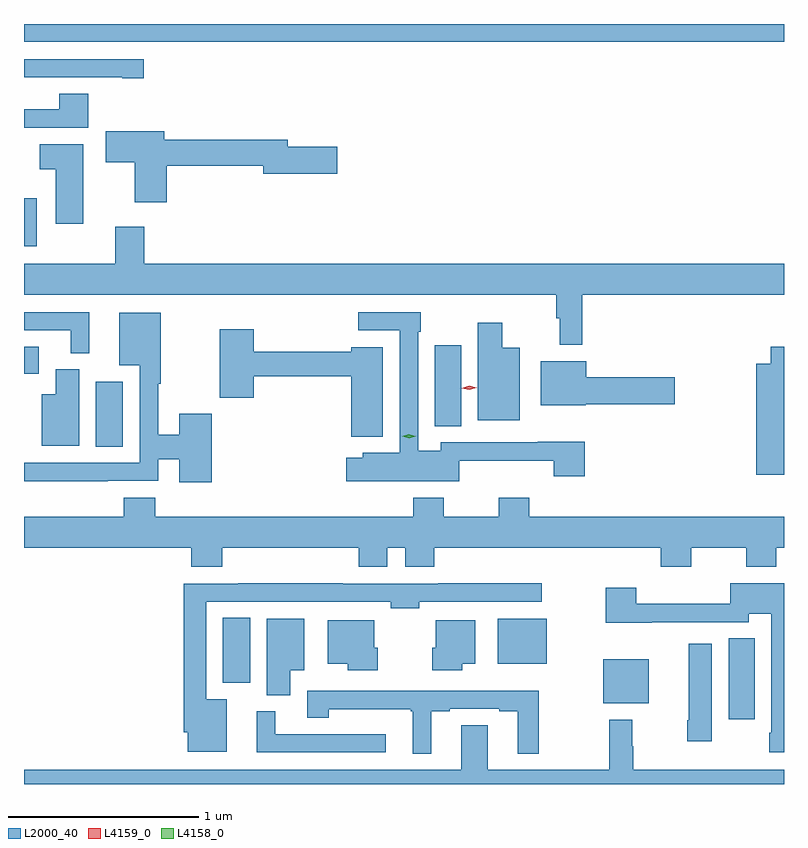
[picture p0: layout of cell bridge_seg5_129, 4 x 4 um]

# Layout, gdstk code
import gdstk
lib = gdstk.Library(unit=1e-6, precision=1e-09)
def R(c, l, rs):  # rectangles x0, y0, x1, y1
    for r in rs: c.add(gdstk.rectangle(r[:2], r[2:], *l))
def P(c, l, *ps):  # polygons
    for p in ps: c.add(gdstk.Polygon(p, *l))
L2000_40 = (2000, 40)
L4158_0 = (4158, 0)
L4159_0 = (4159, 0)

bridge_seg5_129 = lib.new_cell('bridge_seg5_129')
R(bridge_seg5_129, L2000_40, [(424.424,887.826,424.561,888.251), (423.764,887.909,424.003,888.142), (421.763,888.017,421.906,888.359), (423.209,888.119,423.466,888.355), (421.094,889.261,421.237,889.603), (422.879,889.369,423.016,889.795), (420.716,889.643,420.793,889.787), (420.716,890.315,420.784,890.569), (420.716,891.392,424.716,891.485)])
P(bridge_seg5_129, L2000_40, [(421.345,891.3),(420.716,891.3),(420.716,891.204),(421.232,891.204),(421.232,891.199),(421.345,891.199)],
  [(421.055,891.119),(420.902,891.119),(420.902,891.036),(420.716,891.036),(420.716,890.94),(421.055,890.94)],
  [(421.466,890.74),(421.976,890.74),(421.976,890.698),(422.365,890.698),(422.365,890.84),(422.104,890.84),(422.104,890.876),(421.453,890.876),(421.453,890.92),(421.146,890.92),(421.146,890.758),(421.298,890.758),(421.298,890.547),(421.466,890.547)],
  [(421.027,890.851),(420.8,890.851),(420.8,890.72),(420.884,890.72),(420.884,890.433),(421.027,890.433)],
  [(423.653,890.06),(424.716,890.06),(424.716,890.224),(421.349,890.224),(421.349,890.419),(421.196,890.419),(421.196,890.224),(420.716,890.224),(420.716,890.06),(423.517,890.06),(423.517,889.937),(423.536,889.937),(423.536,889.797),(423.653,889.797)],
  [(423.006,889.187),(423.503,889.187),(423.503,889.104),(423.668,889.104),(423.668,889.286),(423.421,889.286),(423.421,889.284),(422.91,889.284),(422.91,889.24),(422.79,889.24),(422.79,889.865),(422.803,889.865),(422.803,889.968),(422.475,889.968),(422.475,889.872),(422.694,889.872),(422.694,889.228),(422.499,889.228),(422.499,889.201),(422.412,889.201),(422.412,889.079),(423.006,889.079)],
  [(421.06,889.968),(420.716,889.968),(420.716,889.872),(420.962,889.872),(420.962,889.753),(421.06,889.753)],
  [(421.703,889.435),(421.532,889.435),(421.532,889.322),(421.422,889.322),(421.422,889.592),(421.435,889.592),(421.435,889.966),(421.217,889.966),(421.217,889.688),(421.326,889.688),(421.326,889.176),(420.716,889.176),(420.716,889.079),(421.157,889.079),(421.157,889.08),(421.422,889.08),(421.422,889.194),(421.532,889.194),(421.532,889.074),(421.703,889.074)],
  [(423.325,889.78),(423.234,889.78),(423.234,889.912),(423.104,889.912),(423.104,889.4),(423.325,889.4)],
  [(422.605,889.783),(422.438,889.783),(422.438,889.759),(421.925,889.759),(421.925,889.879),(421.747,889.879),(421.747,889.518),(421.925,889.518),(421.925,889.63),(422.438,889.63),(422.438,889.313),(422.605,889.313)],
  [(424.716,889.786),(424.646,889.786),(424.646,889.696),(424.571,889.696),(424.571,889.112),(424.716,889.112)],
  [(423.672,889.484),(424.141,889.484),(424.141,889.626),(423.676,889.626),(423.676,889.711),(423.437,889.711),(423.437,889.478),(423.672,889.478)],
  [(421.006,889.668),(420.884,889.668),(420.884,889.537),(420.809,889.537),(420.809,889.265),(421.006,889.265)],
  [(421.76,888.728),(422.477,888.728),(422.477,888.629),(422.629,888.629),(422.629,888.728),(422.723,888.728),(422.723,888.629),(422.876,888.629),(422.876,888.728),(424.067,888.728),(424.067,888.629),(424.227,888.629),(424.227,888.728),(424.516,888.728),(424.516,888.629),(424.676,888.629),(424.676,888.728),(424.716,888.728),(424.716,888.892),(423.374,888.892),(423.374,888.991),(423.214,888.991),(423.214,888.892),(422.925,888.892),(422.925,888.991),(422.765,888.991),(422.765,888.892),(421.406,888.892),(421.406,888.991),(421.241,888.991),(421.241,888.892),(420.716,888.892),(420.716,888.728),(421.595,888.728),(421.595,888.629),(421.76,888.629)],
  [(421.783,887.932),(421.674,887.932),(421.674,888.444),(422.646,888.444),(422.646,888.409),(422.796,888.409),(422.796,888.444),(423.442,888.444),(423.442,888.542),(422.896,888.542),(422.896,888.54),(422.393,888.54),(422.393,888.542),(421.843,888.542),(421.843,888.54),(421.558,888.54),(421.558,887.758),(421.577,887.758),(421.577,887.654),(421.783,887.654)],
  [(424.716,888.541),(424.434,888.541),(424.434,888.434),(423.938,888.434),(423.938,888.517),(423.778,888.517),(423.778,888.335),(424.021,888.335),(424.021,888.336),(424.53,888.336),(424.53,888.38),(424.65,888.38),(424.65,887.755),(424.638,887.755),(424.638,887.652),(424.716,887.652)],
  [(422.116,888.083),(422.191,888.083),(422.191,888.355),(421.994,888.355),(421.994,887.953),(422.116,887.953)],
  [(423.022,888.119),(423.091,888.119),(423.091,888.346),(422.882,888.346),(422.882,888.201),(422.864,888.201),(422.864,888.083),(423.022,888.083)],
  [(422.578,888.201),(422.56,888.201),(422.56,888.346),(422.315,888.346),(422.315,888.119),(422.42,888.119),(422.42,888.083),(422.578,888.083)],
  [(424.336,888.223),(424.214,888.223),(424.214,887.821),(424.207,887.821),(424.207,887.709),(424.336,887.709)],
  [(422.86,887.868),(422.956,887.868),(422.956,887.88),(423.218,887.88),(423.218,887.868),(423.314,887.868),(423.314,887.645),(423.424,887.645),(423.424,887.977),(423.118,887.977),(423.118,887.976),(422.208,887.976),(422.208,887.833),(422.321,887.833),(422.321,887.879),(422.751,887.879),(422.751,887.868),(422.762,887.868),(422.762,887.645),(422.86,887.645)],
  [(422.62,887.748),(422.038,887.748),(422.038,887.868),(421.94,887.868),(421.94,887.652),(422.62,887.652)],
  [(424.716,887.56),(423.923,887.56),(423.923,887.684),(423.916,887.684),(423.916,887.824),(423.795,887.824),(423.795,887.56),(423.157,887.56),(423.157,887.795),(423.017,887.795),(423.017,887.56),(420.716,887.56),(420.716,887.485),(424.716,887.485)])
P(bridge_seg5_129, L4158_0, [(422.743,889.305),(422.708,889.314),(422.707,889.315),(422.708,889.315),(422.742,889.325),(422.777,889.316),(422.778,889.316),(422.777,889.316)])
P(bridge_seg5_129, L4159_0, [(423.059,889.56),(423.019,889.569),(423.019,889.569),(423.019,889.569),(423.059,889.58),(423.098,889.57),(423.099,889.57),(423.098,889.57)])

lib.write_gds('bridge_seg5_129.gds')
